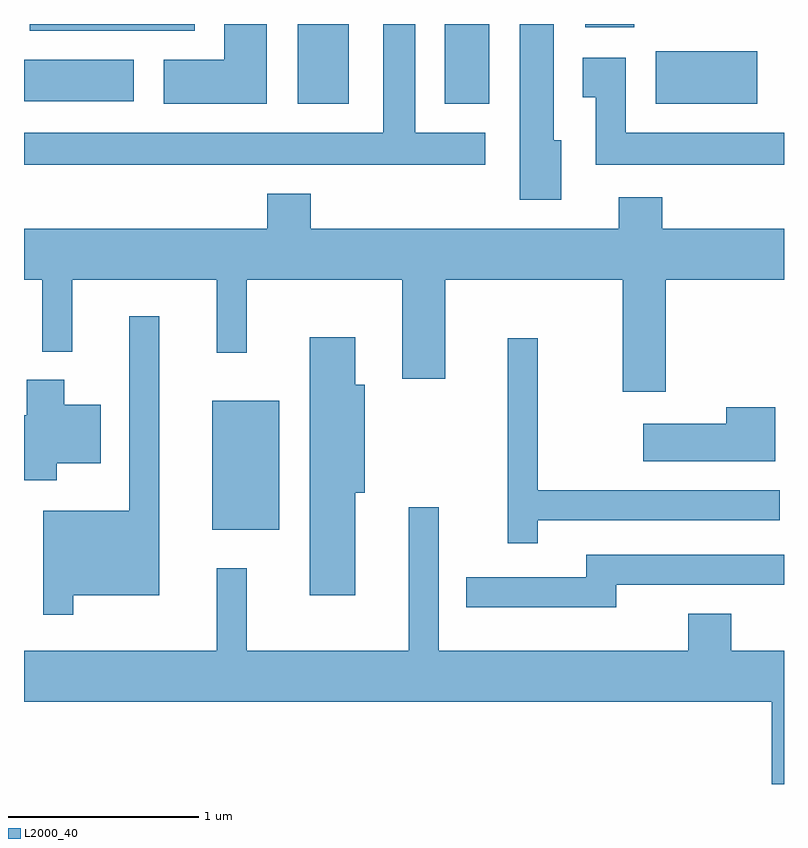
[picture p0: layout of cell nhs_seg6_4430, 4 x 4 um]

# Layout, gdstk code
import gdstk
lib = gdstk.Library(unit=1e-6, precision=1e-09)
def R(c, l, rs):  # rectangles x0, y0, x1, y1
    for r in rs: c.add(gdstk.rectangle(r[:2], r[2:], *l))
def P(c, l, *ps):  # polygons
    for p in ps: c.add(gdstk.Polygon(p, *l))
L2000_40 = (2000, 40)

nhs_seg6_4430 = lib.new_cell('nhs_seg6_4430')
R(nhs_seg6_4430, L2000_40, [(320.601,1657.501,320.954,1658.179), (321.051,1659.741,321.319,1660.162), (321.826,1659.741,322.059,1660.162), (322.936,1659.741,323.469,1660.019), (319.611,1659.756,320.189,1659.974), (319.641,1660.126,320.509,1660.162), (322.566,1660.146,322.824,1660.162)])
P(nhs_seg6_4430, L2000_40, [(322.038,1659.589),(321.669,1659.589),(321.669,1660.162),(321.501,1660.162),(321.501,1659.589),(319.611,1659.589),(319.611,1659.421),(322.038,1659.421)],
  [(322.439,1659.549),(322.399,1659.549),(322.399,1660.162),(322.221,1660.162),(322.221,1659.236),(322.439,1659.236)],
  [(320.889,1660.162),(320.666,1660.162),(320.666,1659.974),(320.346,1659.974),(320.346,1659.741),(320.889,1659.741)],
  [(323.611,1659.589),(322.779,1659.589),(322.779,1659.984),(322.551,1659.984),(322.551,1659.776),(322.621,1659.776),(322.621,1659.421),(323.611,1659.421)],
  [(322.989,1658.816),(323.611,1658.816),(323.611,1659.084),(322.969,1659.084),(322.969,1659.249),(322.741,1659.249),(322.741,1659.084),(321.119,1659.084),(321.119,1659.269),(320.891,1659.269),(320.891,1659.084),(319.611,1659.084),(319.611,1658.816),(319.706,1658.816),(319.706,1658.438),(319.864,1658.438),(319.864,1658.816),(320.626,1658.816),(320.626,1658.433),(320.784,1658.433),(320.784,1658.816),(321.601,1658.816),(321.601,1658.296),(321.829,1658.296),(321.829,1658.816),(322.761,1658.816),(322.761,1658.226),(322.989,1658.226)],
  [(319.869,1657.156),(320.324,1657.156),(320.324,1658.623),(320.166,1658.623),(320.166,1657.599),(319.711,1657.599),(319.711,1657.053),(319.869,1657.053)],
  [(321.354,1657.696),(321.404,1657.696),(321.404,1658.264),(321.354,1658.264),(321.354,1658.514),(321.116,1658.514),(321.116,1657.156),(321.354,1657.156)],
  [(322.314,1657.551),(323.588,1657.551),(323.588,1657.709),(322.314,1657.709),(322.314,1658.508),(322.156,1658.508),(322.156,1657.428),(322.314,1657.428)],
  [(319.784,1657.851),(320.014,1657.851),(320.014,1658.159),(319.824,1658.159),(319.824,1658.289),(319.626,1658.289),(319.626,1658.104),(319.611,1658.104),(319.611,1657.761),(319.784,1657.761)],
  [(323.564,1658.144),(323.306,1658.144),(323.306,1658.059),(322.871,1658.059),(322.871,1657.861),(323.564,1657.861)],
  [(323.611,1656.864),(323.334,1656.864),(323.334,1657.059),(323.106,1657.059),(323.106,1656.864),(321.794,1656.864),(321.794,1657.618),(321.636,1657.618),(321.636,1656.864),(320.784,1656.864),(320.784,1657.298),(320.626,1657.298),(320.626,1656.864),(319.611,1656.864),(319.611,1656.596),(323.546,1656.596),(323.546,1656.162),(323.611,1656.162)],
  [(322.729,1657.211),(323.611,1657.211),(323.611,1657.369),(322.571,1657.369),(322.571,1657.249),(321.938,1657.249),(321.938,1657.091),(322.729,1657.091)])

lib.write_gds('nhs_seg6_4430.gds')
